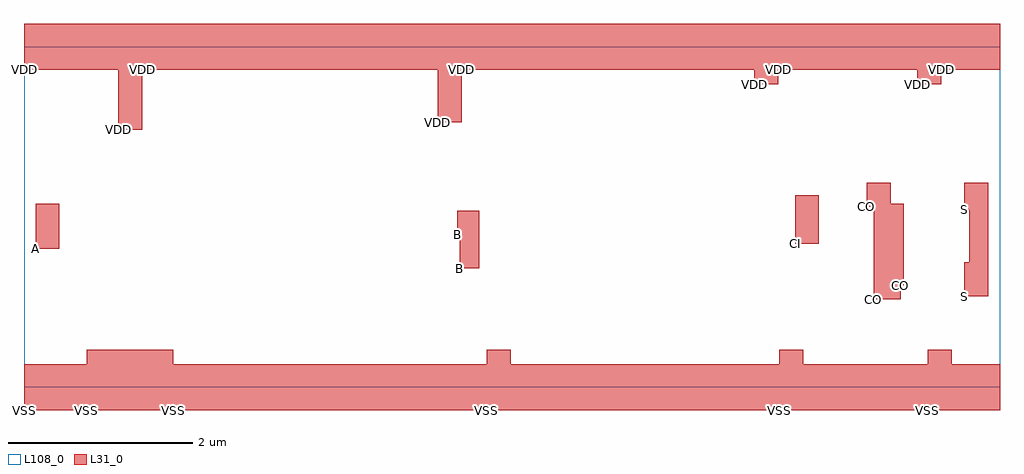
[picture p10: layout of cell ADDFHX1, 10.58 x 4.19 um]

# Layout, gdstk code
import gdstk
lib = gdstk.Library(unit=1e-6, precision=1e-09)
def R(c, l, rs):  # rectangles x0, y0, x1, y1
    for r in rs: c.add(gdstk.rectangle(r[:2], r[2:], *l))
L31_0 = (31, 0)
L108_0 = (108, 0)

addfhx1 = lib.new_cell('ADDFHX1')
R(addfhx1, L31_0, [(0,-0.25,0.68,0.25), (0.68,-0.25,1.62,0.405), (1.62,-0.25,5.015,0.25), (5.015,-0.25,5.275,0.405), (5.275,-0.25,8.185,0.25), (8.185,-0.25,8.445,0.405), (8.445,-0.25,9.795,0.25), (9.795,-0.25,10.055,0.405), (10.055,-0.25,10.58,0.25), (9.21,0.955,9.395,2.215), (9.395,0.955,9.505,1.99), (10.195,0.985,10.245,1.355), (10.245,0.985,10.455,2.215), (9.505,1.105,9.535,1.99), (4.725,1.29,4.935,1.915), (0.125,1.5,0.38,1.99), (8.36,1.555,8.615,2.08), (4.695,1.655,4.725,1.915), (10.195,1.925,10.245,2.215), (9.135,1.955,9.21,2.215), (1.02,2.79,1.28,3.94), (4.485,2.87,4.745,3.94), (7.915,3.285,8.175,3.94), (9.685,3.285,9.945,3.94), (0,3.44,1.02,3.94), (1.28,3.44,4.485,3.94), (4.745,3.44,7.915,3.94), (8.175,3.44,9.685,3.94), (9.945,3.44,10.58,3.94)])
R(addfhx1, L108_0, [(0,0,10.58,3.69)])
addfhx1.add(gdstk.Label('S', (10.195,1.925), layer=131, texttype=0))
addfhx1.add(gdstk.Label('S', (10.195,0.985), layer=131, texttype=0))
addfhx1.add(gdstk.Label('S', (10.245,0.985), layer=131, texttype=0))
addfhx1.add(gdstk.Label('CO', (9.135,1.955), layer=131, texttype=0))
addfhx1.add(gdstk.Label('CO', (9.21,0.955), layer=131, texttype=0))
addfhx1.add(gdstk.Label('CO', (9.395,0.955), layer=131, texttype=0))
addfhx1.add(gdstk.Label('CO', (9.505,1.105), layer=131, texttype=0))
addfhx1.add(gdstk.Label('CI', (8.36,1.555), layer=131, texttype=0))
addfhx1.add(gdstk.Label('B', (4.695,1.655), layer=131, texttype=0))
addfhx1.add(gdstk.Label('B', (4.725,1.29), layer=131, texttype=0))
addfhx1.add(gdstk.Label('A', (0.125,1.5), layer=131, texttype=0))
addfhx1.add(gdstk.Label('VSS', (0,-0.25), layer=131, texttype=0))
addfhx1.add(gdstk.Label('VSS', (0.68,-0.25), layer=131, texttype=0))
addfhx1.add(gdstk.Label('VSS', (1.62,-0.25), layer=131, texttype=0))
addfhx1.add(gdstk.Label('VSS', (5.015,-0.25), layer=131, texttype=0))
addfhx1.add(gdstk.Label('VSS', (5.275,-0.25), layer=131, texttype=0))
addfhx1.add(gdstk.Label('VSS', (8.185,-0.25), layer=131, texttype=0))
addfhx1.add(gdstk.Label('VSS', (8.445,-0.25), layer=131, texttype=0))
addfhx1.add(gdstk.Label('VSS', (9.795,-0.25), layer=131, texttype=0))
addfhx1.add(gdstk.Label('VSS', (10.055,-0.25), layer=131, texttype=0))
addfhx1.add(gdstk.Label('VDD', (0,3.44), layer=131, texttype=0))
addfhx1.add(gdstk.Label('VDD', (1.02,2.79), layer=131, texttype=0))
addfhx1.add(gdstk.Label('VDD', (1.28,3.44), layer=131, texttype=0))
addfhx1.add(gdstk.Label('VDD', (4.485,2.87), layer=131, texttype=0))
addfhx1.add(gdstk.Label('VDD', (4.745,3.44), layer=131, texttype=0))
addfhx1.add(gdstk.Label('VDD', (7.915,3.285), layer=131, texttype=0))
addfhx1.add(gdstk.Label('VDD', (8.175,3.44), layer=131, texttype=0))
addfhx1.add(gdstk.Label('VDD', (9.685,3.285), layer=131, texttype=0))
addfhx1.add(gdstk.Label('VDD', (9.945,3.44), layer=131, texttype=0))

lib.write_gds('ADDFHX1.gds')
